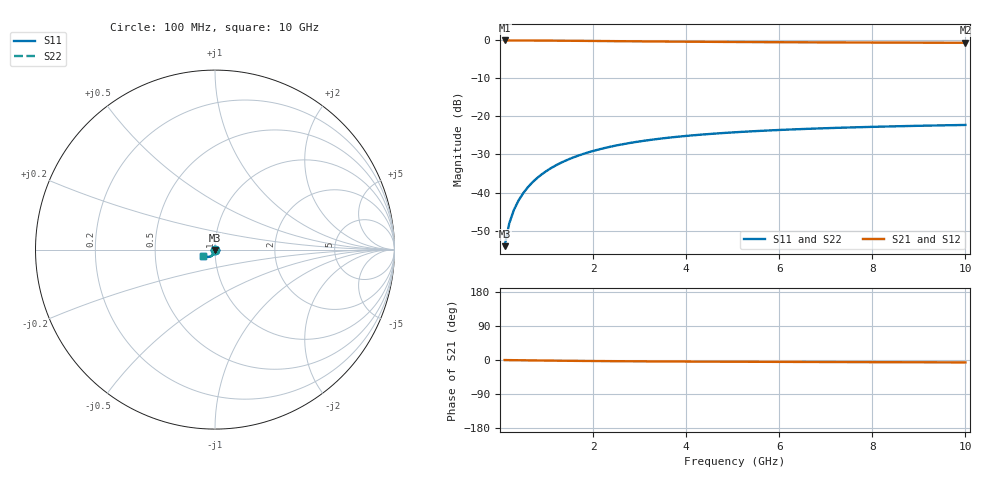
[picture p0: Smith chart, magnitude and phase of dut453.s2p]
! Touchstone file exported from HFSS 2024.1.0
!  File:  C:/UserFiles/LocalFiles/RDL_TSV_Batchsim/temp_TSV1_453_1779696618.aedt
!  Generated:  04:18:54 PM May 25, 2026
!  Design:  TSV1
!  Project:  temp_TSV1_453_1779696618
!  Setup:  Setup1
!  Solution:  Sweep
! Variables:
!  dtsv = 12.44um
!  hbump = 3um
!  htsv = 98.19um
!  lrdl = 252.1521522um
!  p = 40
!  p1 = 40.43um
!  t = 500um
!  trdl = 3um
!  wrdl = 24.89489489um
# GHz S MA R 50.000000
! Terminal data exported
! Port[1] = TSV22_T1
! Port[2] = TSV22_T2
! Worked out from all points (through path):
!   100 points, 100 MHz to 10 GHz, reference 50 ohm
!   highest |S21| = 0.00 dB at 100 MHz (marker M1); lowest = -0.6 dB at 10 GHz (marker M2)
!   lowest |S11| = -54.1 dB at 100 MHz (marker M3), VSWR 1.00, Z = 50 - j0.197 ohm
!   |S11| at or under -10 dB: start of sweep to end of sweep
!   |S22| runs from -54.1 to -22.2 dB; largest |S21 - S12| = 7.3e-15
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0.1  0.001969 -88.1  0.9998 -0.2  0.9998 -0.2  0.001969 -88.1
! Gamma 0 0 0 0
! Port Impedance 50 0 50 0
0.2  0.003936 -91.0  0.9997 -0.3  0.9997 -0.3  0.003936 -91.0
0.3  0.005903 -92.9  0.9994 -0.5  0.9994 -0.5  0.005903 -92.9
0.4  0.007865 -94.6  0.999 -0.6  0.999 -0.6  0.007865 -94.6
0.5  0.009815 -96.1  0.9986 -0.8  0.9986 -0.8  0.009815 -96.1
0.6  0.01175 -97.7  0.9981 -0.9  0.9981 -0.9  0.01175 -97.7
0.7  0.01365 -99.2  0.9974 -1.1  0.9974 -1.1  0.01365 -99.2
0.8  0.01554 -100.6  0.9968 -1.2  0.9968 -1.2  0.01554 -100.6
0.9  0.01739 -102.0  0.996 -1.4  0.996 -1.4  0.01739 -102.0
1.1  0.02098 -104.8  0.9943 -1.6  0.9943 -1.6  0.02098 -104.8
1.4  0.02609 -108.7  0.9914 -2.0  0.9914 -2.0  0.02609 -108.7
1.6  0.02929 -111.2  0.9893 -2.2  0.9893 -2.2  0.02929 -111.2
1.8  0.03231 -113.6  0.987 -2.5  0.987 -2.5  0.03231 -113.6
2.1  0.03652 -116.9  0.9836 -2.8  0.9836 -2.8  0.03652 -116.9
2.5  0.04155 -120.9  0.9789 -3.1  0.9789 -3.1  0.04155 -120.9
2.9  0.04596 -124.6  0.9744 -3.4  0.9744 -3.4  0.04596 -124.6
3.4  0.05071 -128.5  0.969 -3.8  0.969 -3.8  0.05071 -128.5
4.2  0.05688 -133.9  0.9614 -4.2  0.9614 -4.2  0.05688 -133.9
5.1  0.06225 -138.7  0.9542 -4.6  0.9542 -4.6  0.06225 -138.7
6.7  0.0691 -145.1  0.9444 -5.2  0.9444 -5.2  0.0691 -145.1
8.4  0.07405 -150.0  0.937 -5.8  0.937 -5.8  0.07405 -150.0
10  0.07738 -153.5  0.9319 -6.3  0.9319 -6.3  0.07738 -153.5
